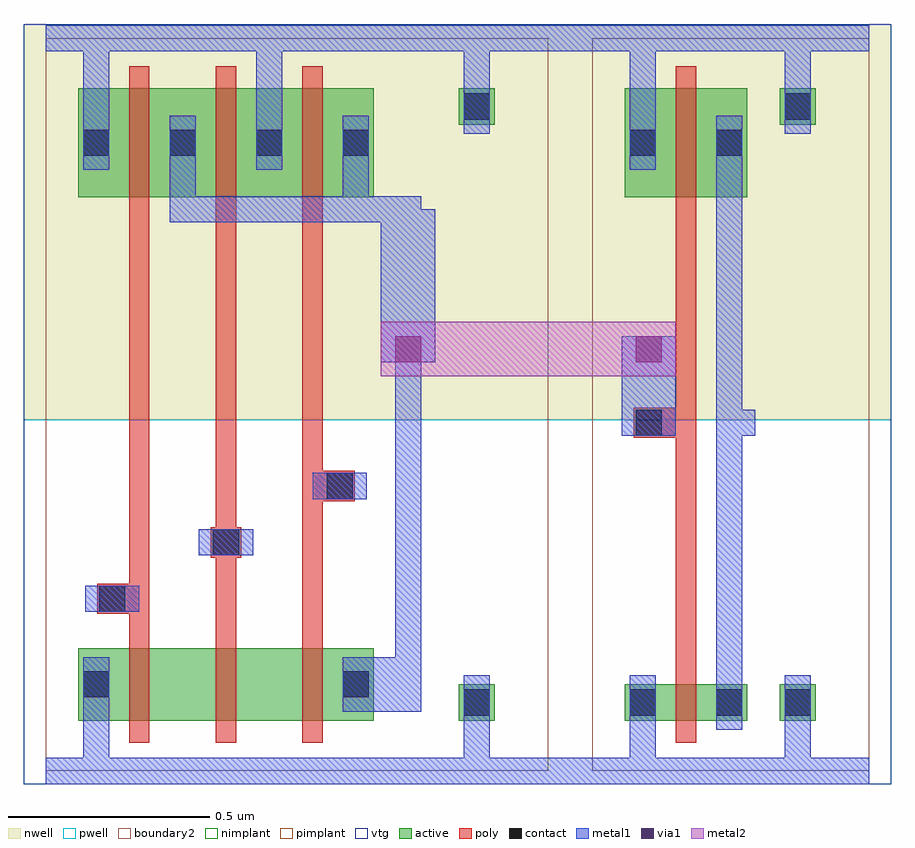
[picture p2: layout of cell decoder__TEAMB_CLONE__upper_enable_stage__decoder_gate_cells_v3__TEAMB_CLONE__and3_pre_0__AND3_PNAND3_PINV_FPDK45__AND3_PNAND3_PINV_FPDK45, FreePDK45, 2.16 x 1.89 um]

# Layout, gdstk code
import gdstk
lib = gdstk.Library(unit=1e-6, precision=5e-10)
def R(c, l, rs):  # rectangles x0, y0, x1, y1
    for r in rs: c.add(gdstk.rectangle(r[:2], r[2:], *l))
def A(c, l, x, y, w, h, nx, ny, dx, dy):  # array of equal rectangles
    R(c, l, [(x+i*dx, y+j*dy, x+i*dx+w, y+j*dy+h) for i in range(nx) for j in range(ny)])
active = (1, 0)
pwell = (2, 0)
nwell = (3, 0)
nimplant = (4, 0)
pimplant = (5, 0)
vtg = (6, 0)
poly = (9, 0)
contact = (10, 0)
metal1 = (11, 0)
via1 = (12, 0)
metal2 = (13, 0)
boundary2 = (239, 0)

decoder__teamb_clone__up = lib.new_cell('decoder__TEAMB_CLONE__upper_enable_stage__decoder_gate_cells_v3__TEAMB_CLONE__and3_pre_0__AND3_PNAND3_PINV_FPDK45__TEAMB_CLONE__nand3__PNAND3_NW180_PW270_L50_FPDK45__PNAND3_NW180_PW270_L50_FPDK45_contact_8')
R(decoder__teamb_clone__up, active, [(0,0.0225,0.09,0.1125)])
R(decoder__teamb_clone__up, nwell, [(-0.055,-0.0325,0.145,0.1675)])
R(decoder__teamb_clone__up, pimplant, [(0,0.0225,0.09,0.1125)])
R(decoder__teamb_clone__up, contact, [(0.0125,0.035,0.0775,0.1)])
R(decoder__teamb_clone__up, metal1, [(0.0125,0,0.0775,0.135)])
R(decoder__teamb_clone__up, boundary2, [(-0.055,-0.0325,0.145,0.1675)])

c_decoder__teamb_clone__up = lib.new_cell('decoder__TEAMB_CLONE__upper_enable_stage__decoder_gate_cells_v3__TEAMB_CLONE__and3_pre_0__AND3_PNAND3_PINV_FPDK45__TEAMB_CLONE__nand3__PNAND3_NW180_PW270_L50_FPDK45__PNAND3_NW180_PW270_L50_FPDK45_pmos_m1_w0_270_sm1_dm1')
R(c_decoder__teamb_clone__up, active, [(0,0,0.305,0.27)])
R(c_decoder__teamb_clone__up, nwell, [(-0.08,-0.08,0.385,0.35)])
R(c_decoder__teamb_clone__up, pimplant, [(0,0,0.305,0.27)])
R(c_decoder__teamb_clone__up, vtg, [(-0.08,-0.08,0.385,0.35)])
R(c_decoder__teamb_clone__up, poly, [(0.1275,-0.055,0.1775,0.325), (0.1275,-0.055,0.1775,0.325)])
R(c_decoder__teamb_clone__up, metal1, [(0.0125,0.0675,0.0775,0.2025), (0.2275,0.0675,0.2925,0.2025)])
R(c_decoder__teamb_clone__up, boundary2, [(-0.08,-0.08,0.385,0.35)])
c_decoder__teamb_clone__up.add(gdstk.Reference(decoder__teamb_clone__up, (0,0.0675)))
c_decoder__teamb_clone__up.add(gdstk.Reference(decoder__teamb_clone__up, (0.215,0.0675)))

c_decoder__teamb_clone__up_ = lib.new_cell('decoder__TEAMB_CLONE__upper_enable_stage__decoder_gate_cells_v3__TEAMB_CLONE__and3_pre_0__AND3_PNAND3_PINV_FPDK45__TEAMB_CLONE__nand3__PNAND3_NW180_PW270_L50_FPDK45__PNAND3_NW180_PW270_L50_FPDK45_contact_7')
R(c_decoder__teamb_clone__up_, active, [(0,0.0225,0.09,0.1125)])
R(c_decoder__teamb_clone__up_, pwell, [(-0.055,-0.0325,0.145,0.1675)])
R(c_decoder__teamb_clone__up_, nimplant, [(0,0.0225,0.09,0.1125)])
R(c_decoder__teamb_clone__up_, contact, [(0.0125,0.035,0.0775,0.1)])
R(c_decoder__teamb_clone__up_, metal1, [(0.0125,0,0.0775,0.135)])
R(c_decoder__teamb_clone__up_, boundary2, [(-0.055,-0.0325,0.145,0.1675)])

c_decoder__teamb_clone__up__ = lib.new_cell('decoder__TEAMB_CLONE__upper_enable_stage__decoder_gate_cells_v3__TEAMB_CLONE__and3_pre_0__AND3_PNAND3_PINV_FPDK45__TEAMB_CLONE__nand3__PNAND3_NW180_PW270_L50_FPDK45__PNAND3_NW180_PW270_L50_FPDK45_nmos_m1_w0_180_sm1_dactive')
R(c_decoder__teamb_clone__up__, active, [(0,0,0.305,0.18), (0.215,0.045,0.305,0.135)])
R(c_decoder__teamb_clone__up__, pwell, [(-0.08,-0.08,0.385,0.26)])
R(c_decoder__teamb_clone__up__, nimplant, [(0,0,0.305,0.18)])
R(c_decoder__teamb_clone__up__, vtg, [(-0.08,-0.08,0.385,0.26)])
R(c_decoder__teamb_clone__up__, poly, [(0.1275,-0.055,0.1775,0.235), (0.1275,-0.055,0.1775,0.235)])
R(c_decoder__teamb_clone__up__, metal1, [(0.0125,0.0225,0.0775,0.1575)])
R(c_decoder__teamb_clone__up__, boundary2, [(-0.08,-0.08,0.385,0.26)])
c_decoder__teamb_clone__up__.add(gdstk.Reference(c_decoder__teamb_clone__up_, (0,0.0225)))

c_decoder__teamb_clone__up___ = lib.new_cell('decoder__TEAMB_CLONE__upper_enable_stage__decoder_gate_cells_v3__TEAMB_CLONE__and3_pre_0__AND3_PNAND3_PINV_FPDK45__TEAMB_CLONE__nand3__PNAND3_NW180_PW270_L50_FPDK45__PNAND3_NW180_PW270_L50_FPDK45_nmos_m1_w0_180_sactive_dactive')
R(c_decoder__teamb_clone__up___, active, [(0,0,0.305,0.18), (0,0.045,0.09,0.135), (0.215,0.045,0.305,0.135)])
R(c_decoder__teamb_clone__up___, pwell, [(-0.08,-0.08,0.385,0.26)])
R(c_decoder__teamb_clone__up___, nimplant, [(0,0,0.305,0.18)])
R(c_decoder__teamb_clone__up___, vtg, [(-0.08,-0.08,0.385,0.26)])
R(c_decoder__teamb_clone__up___, poly, [(0.1275,-0.055,0.1775,0.235), (0.1275,-0.055,0.1775,0.235)])
R(c_decoder__teamb_clone__up___, boundary2, [(-0.08,-0.08,0.385,0.26)])

c_decoder__teamb_clone__up____ = lib.new_cell('decoder__TEAMB_CLONE__upper_enable_stage__decoder_gate_cells_v3__TEAMB_CLONE__and3_pre_0__AND3_PNAND3_PINV_FPDK45__TEAMB_CLONE__nand3__PNAND3_NW180_PW270_L50_FPDK45__PNAND3_NW180_PW270_L50_FPDK45_nmos_m1_w0_180_sactive_dm1')
R(c_decoder__teamb_clone__up____, active, [(0,0,0.305,0.18), (0,0.045,0.09,0.135)])
R(c_decoder__teamb_clone__up____, pwell, [(-0.08,-0.08,0.385,0.26)])
R(c_decoder__teamb_clone__up____, nimplant, [(0,0,0.305,0.18)])
R(c_decoder__teamb_clone__up____, vtg, [(-0.08,-0.08,0.385,0.26)])
R(c_decoder__teamb_clone__up____, poly, [(0.1275,-0.055,0.1775,0.235), (0.1275,-0.055,0.1775,0.235)])
R(c_decoder__teamb_clone__up____, metal1, [(0.2275,0.0225,0.2925,0.1575)])
R(c_decoder__teamb_clone__up____, boundary2, [(-0.08,-0.08,0.385,0.26)])
c_decoder__teamb_clone__up____.add(gdstk.Reference(c_decoder__teamb_clone__up_, (0.215,0.0225)))

c_decoder__teamb_clone__up_____ = lib.new_cell('decoder__TEAMB_CLONE__upper_enable_stage__decoder_gate_cells_v3__TEAMB_CLONE__and3_pre_0__AND3_PNAND3_PINV_FPDK45__TEAMB_CLONE__nand3__PNAND3_NW180_PW270_L50_FPDK45__PNAND3_NW180_PW270_L50_FPDK45_contact_9')
R(c_decoder__teamb_clone__up_____, active, [(0,0.0225,0.09,0.1125)])
R(c_decoder__teamb_clone__up_____, nwell, [(-0.055,-0.0325,0.145,0.1675)])
R(c_decoder__teamb_clone__up_____, nimplant, [(0,0.0225,0.09,0.1125)])
R(c_decoder__teamb_clone__up_____, contact, [(0.0125,0.035,0.0775,0.1)])
R(c_decoder__teamb_clone__up_____, metal1, [(0.0125,0,0.0775,0.135)])
R(c_decoder__teamb_clone__up_____, boundary2, [(-0.055,-0.0325,0.145,0.1675)])

c_decoder__teamb_clone__up______ = lib.new_cell('decoder__TEAMB_CLONE__upper_enable_stage__decoder_gate_cells_v3__TEAMB_CLONE__and3_pre_0__AND3_PNAND3_PINV_FPDK45__TEAMB_CLONE__nand3__PNAND3_NW180_PW270_L50_FPDK45__PNAND3_NW180_PW270_L50_FPDK45_contact_10')
R(c_decoder__teamb_clone__up______, active, [(0,0.0225,0.09,0.1125)])
R(c_decoder__teamb_clone__up______, pwell, [(-0.055,-0.0325,0.145,0.1675)])
R(c_decoder__teamb_clone__up______, pimplant, [(0,0.0225,0.09,0.1125)])
R(c_decoder__teamb_clone__up______, contact, [(0.0125,0.035,0.0775,0.1)])
R(c_decoder__teamb_clone__up______, metal1, [(0.0125,0,0.0775,0.135)])
R(c_decoder__teamb_clone__up______, boundary2, [(-0.055,-0.0325,0.145,0.1675)])

c_decoder__teamb_clone__up_______ = lib.new_cell('decoder__TEAMB_CLONE__upper_enable_stage__decoder_gate_cells_v3__TEAMB_CLONE__and3_pre_0__AND3_PNAND3_PINV_FPDK45__TEAMB_CLONE__nand3__PNAND3_NW180_PW270_L50_FPDK45__PNAND3_NW180_PW270_L50_FPDK45_contact_11')
R(c_decoder__teamb_clone__up_______, poly, [(0.03,0,0.105,0.075)])
R(c_decoder__teamb_clone__up_______, contact, [(0.035,0.005,0.1,0.07)])
R(c_decoder__teamb_clone__up_______, metal1, [(0,0.005,0.135,0.07)])
R(c_decoder__teamb_clone__up_______, boundary2, [(0,0,0.135,0.075)])

c_decoder__teamb_clone__up________ = lib.new_cell('decoder__TEAMB_CLONE__upper_enable_stage__decoder_gate_cells_v3__TEAMB_CLONE__and3_pre_0__AND3_PNAND3_PINV_FPDK45__TEAMB_CLONE__nand3__PNAND3_NW180_PW270_L50_FPDK45__PNAND3_NW180_PW270_L50_FPDK45_pnand3')
R(c_decoder__teamb_clone__up________, pwell, [(-0.055,-0.0325,1.3025,0.8725)])
R(c_decoder__teamb_clone__up________, nwell, [(-0.055,0.8725,1.3025,1.855)])
R(c_decoder__teamb_clone__up________, vtg, [(-0.055,-0.0325,1.3025,0.8725), (-0.055,0.8725,1.3025,1.855)])
A(c_decoder__teamb_clone__up________, poly, 0.2075, 0.36, 0.05, 1.01, 3, 1, 0.215, 0)
R(c_decoder__teamb_clone__up________, poly, [(0.165,0.39,0.2075,0.465), (0.4225,0.53,0.4475,0.605), (0.6375,0.67,0.73,0.745)])
R(c_decoder__teamb_clone__up________, metal1, [(0,-0.0325,1.2475,0.0325), (0.0925,-0.0325,0.1575,0.1475), (1.0375,0,1.1025,0.17), (0.77,0.1475,0.9,0.2825), (0.8675,0.1475,0.9325,1.395), (0.0975,0.395,0.2325,0.46), (0.38,0.535,0.515,0.6), (0.6625,0.675,0.7975,0.74), (0.3075,1.3625,0.3725,1.4275), (0.34,1.3625,0.9,1.4275), (0.7375,1.3625,0.8025,1.4275), (0.77,1.3625,0.9,1.4275), (0.8675,1.3625,0.9325,1.4275), (0.3075,1.395,0.3725,1.56), (0.7375,1.395,0.8025,1.56), (0.0925,1.4925,0.1575,1.8525), (0.5225,1.4925,0.5875,1.8525), (1.0375,1.65,1.1025,1.82), (0,1.7875,1.2475,1.8525)])
R(c_decoder__teamb_clone__up________, boundary2, [(0,0,1.2475,1.82), (0,0,1.2475,1.82)])
c_decoder__teamb_clone__up________.add(gdstk.Reference(c_decoder__teamb_clone__up, (0.08,1.425)))
c_decoder__teamb_clone__up________.add(gdstk.Reference(c_decoder__teamb_clone__up, (0.295,1.425)))
c_decoder__teamb_clone__up________.add(gdstk.Reference(c_decoder__teamb_clone__up, (0.51,1.425)))
c_decoder__teamb_clone__up________.add(gdstk.Reference(c_decoder__teamb_clone__up__, (0.08,0.125)))
c_decoder__teamb_clone__up________.add(gdstk.Reference(c_decoder__teamb_clone__up___, (0.295,0.125)))
c_decoder__teamb_clone__up________.add(gdstk.Reference(c_decoder__teamb_clone__up____, (0.51,0.125)))
c_decoder__teamb_clone__up________.add(gdstk.Reference(c_decoder__teamb_clone__up_____, (1.025,1.5825)))
c_decoder__teamb_clone__up________.add(gdstk.Reference(c_decoder__teamb_clone__up______, (1.025,0.1025)))
c_decoder__teamb_clone__up________.add(gdstk.Reference(c_decoder__teamb_clone__up_______, (0.0975,0.39)))
c_decoder__teamb_clone__up________.add(gdstk.Reference(c_decoder__teamb_clone__up_______, (0.38,0.53)))
c_decoder__teamb_clone__up________.add(gdstk.Reference(c_decoder__teamb_clone__up_______, (0.6625,0.67)))

c_decoder__teamb_clone__up_________ = lib.new_cell('decoder__TEAMB_CLONE__upper_enable_stage__decoder_gate_cells_v3__TEAMB_CLONE__and3_pre_0__AND3_PNAND3_PINV_FPDK45__TEAMB_CLONE__nand3__PNAND3_NW180_PW270_L50_FPDK45__PNAND3_NW180_PW270_L50_FPDK45')
R(c_decoder__teamb_clone__up_________, metal1, [(0,-0.0325,1.2475,0.0325), (0.0975,0.395,0.2325,0.46), (0.38,0.535,0.515,0.6), (0.6625,0.675,0.7975,0.74), (0.8675,1.3625,0.9325,1.4275), (0,1.7875,1.2475,1.8525)])
R(c_decoder__teamb_clone__up_________, boundary2, [(0,0,1.2475,1.82)])
c_decoder__teamb_clone__up_________.add(gdstk.Reference(c_decoder__teamb_clone__up________, (0,0)))

c_decoder__teamb_clone__up__________ = lib.new_cell('decoder__TEAMB_CLONE__upper_enable_stage__decoder_gate_cells_v3__TEAMB_CLONE__and3_pre_0__AND3_PNAND3_PINV_FPDK45__TEAMB_CLONE__inv__PINV_NW90_PW270_L50__TRANSMISSION_GATE_NW250_PW500_L50_contact_8')
R(c_decoder__teamb_clone__up__________, active, [(0,0.0225,0.09,0.1125)])
R(c_decoder__teamb_clone__up__________, nwell, [(-0.055,-0.0325,0.145,0.1675)])
R(c_decoder__teamb_clone__up__________, pimplant, [(0,0.0225,0.09,0.1125)])
R(c_decoder__teamb_clone__up__________, contact, [(0.0125,0.035,0.0775,0.1)])
R(c_decoder__teamb_clone__up__________, metal1, [(0.0125,0,0.0775,0.135)])
R(c_decoder__teamb_clone__up__________, boundary2, [(-0.055,-0.0325,0.145,0.1675)])

c_decoder__teamb_clone__up___________ = lib.new_cell('decoder__TEAMB_CLONE__upper_enable_stage__decoder_gate_cells_v3__TEAMB_CLONE__and3_pre_0__AND3_PNAND3_PINV_FPDK45__TEAMB_CLONE__inv__PINV_NW90_PW270_L50__PINV_NW180_PW270_L50_pmos_m1_w0_270_sm1_dm1_da_p')
R(c_decoder__teamb_clone__up___________, active, [(0,0,0.305,0.27)])
R(c_decoder__teamb_clone__up___________, nwell, [(-0.08,-0.08,0.385,0.35)])
R(c_decoder__teamb_clone__up___________, pimplant, [(0,0,0.305,0.27)])
R(c_decoder__teamb_clone__up___________, vtg, [(-0.08,-0.08,0.385,0.35)])
R(c_decoder__teamb_clone__up___________, poly, [(0.1275,-0.055,0.1775,0.325), (0.1275,-0.055,0.1775,0.325)])
R(c_decoder__teamb_clone__up___________, metal1, [(0.0125,0.0675,0.0775,0.2025), (0.2275,0.0675,0.2925,0.2025)])
R(c_decoder__teamb_clone__up___________, boundary2, [(-0.08,-0.08,0.385,0.35)])
c_decoder__teamb_clone__up___________.add(gdstk.Reference(c_decoder__teamb_clone__up__________, (0,0.0675)))
c_decoder__teamb_clone__up___________.add(gdstk.Reference(c_decoder__teamb_clone__up__________, (0.215,0.0675)))

c_decoder__teamb_clone__up____________ = lib.new_cell('decoder__TEAMB_CLONE__upper_enable_stage__decoder_gate_cells_v3__TEAMB_CLONE__and3_pre_0__AND3_PNAND3_PINV_FPDK45__TEAMB_CLONE__inv__PINV_NW90_PW270_L50__TRANSMISSION_GATE_NW250_PW500_L50_contact_7')
R(c_decoder__teamb_clone__up____________, active, [(0,0.0225,0.09,0.1125)])
R(c_decoder__teamb_clone__up____________, pwell, [(-0.055,-0.0325,0.145,0.1675)])
R(c_decoder__teamb_clone__up____________, nimplant, [(0,0.0225,0.09,0.1125)])
R(c_decoder__teamb_clone__up____________, contact, [(0.0125,0.035,0.0775,0.1)])
R(c_decoder__teamb_clone__up____________, metal1, [(0.0125,0,0.0775,0.135)])
R(c_decoder__teamb_clone__up____________, boundary2, [(-0.055,-0.0325,0.145,0.1675)])

c_decoder__teamb_clone__up_____________ = lib.new_cell('decoder__TEAMB_CLONE__upper_enable_stage__decoder_gate_cells_v3__TEAMB_CLONE__and3_pre_0__AND3_PNAND3_PINV_FPDK45__TEAMB_CLONE__inv__PINV_NW90_PW270_L50__PINV_NW90_PW270_L50_nmos_m1_w0_090_sm1_dm1_da_p')
R(c_decoder__teamb_clone__up_____________, active, [(0,0,0.305,0.09)])
R(c_decoder__teamb_clone__up_____________, pwell, [(-0.08,-0.08,0.385,0.17)])
R(c_decoder__teamb_clone__up_____________, nimplant, [(0,0,0.305,0.09)])
R(c_decoder__teamb_clone__up_____________, vtg, [(-0.08,-0.08,0.385,0.17)])
R(c_decoder__teamb_clone__up_____________, poly, [(0.1275,-0.055,0.1775,0.145), (0.1275,-0.055,0.1775,0.145)])
R(c_decoder__teamb_clone__up_____________, metal1, [(0.0125,-0.0225,0.0775,0.1125), (0.2275,-0.0225,0.2925,0.1125)])
R(c_decoder__teamb_clone__up_____________, boundary2, [(-0.08,-0.08,0.385,0.17)])
c_decoder__teamb_clone__up_____________.add(gdstk.Reference(c_decoder__teamb_clone__up____________, (0,-0.0225)))
c_decoder__teamb_clone__up_____________.add(gdstk.Reference(c_decoder__teamb_clone__up____________, (0.215,-0.0225)))

c_decoder__teamb_clone__up______________ = lib.new_cell('decoder__TEAMB_CLONE__upper_enable_stage__decoder_gate_cells_v3__TEAMB_CLONE__and3_pre_0__AND3_PNAND3_PINV_FPDK45__TEAMB_CLONE__inv__PINV_NW90_PW270_L50__TRANSMISSION_GATE_NW250_PW500_L50_contact_9')
R(c_decoder__teamb_clone__up______________, active, [(0,0.0225,0.09,0.1125)])
R(c_decoder__teamb_clone__up______________, nwell, [(-0.055,-0.0325,0.145,0.1675)])
R(c_decoder__teamb_clone__up______________, nimplant, [(0,0.0225,0.09,0.1125)])
R(c_decoder__teamb_clone__up______________, contact, [(0.0125,0.035,0.0775,0.1)])
R(c_decoder__teamb_clone__up______________, metal1, [(0.0125,0,0.0775,0.135)])
R(c_decoder__teamb_clone__up______________, boundary2, [(-0.055,-0.0325,0.145,0.1675)])

c_decoder__teamb_clone__up_______________ = lib.new_cell('decoder__TEAMB_CLONE__upper_enable_stage__decoder_gate_cells_v3__TEAMB_CLONE__and3_pre_0__AND3_PNAND3_PINV_FPDK45__TEAMB_CLONE__inv__PINV_NW90_PW270_L50__TRANSMISSION_GATE_NW250_PW500_L50_contact_10')
R(c_decoder__teamb_clone__up_______________, active, [(0,0.0225,0.09,0.1125)])
R(c_decoder__teamb_clone__up_______________, pwell, [(-0.055,-0.0325,0.145,0.1675)])
R(c_decoder__teamb_clone__up_______________, pimplant, [(0,0.0225,0.09,0.1125)])
R(c_decoder__teamb_clone__up_______________, contact, [(0.0125,0.035,0.0775,0.1)])
R(c_decoder__teamb_clone__up_______________, metal1, [(0.0125,0,0.0775,0.135)])
R(c_decoder__teamb_clone__up_______________, boundary2, [(-0.055,-0.0325,0.145,0.1675)])

c_decoder__teamb_clone__up________________ = lib.new_cell('decoder__TEAMB_CLONE__upper_enable_stage__decoder_gate_cells_v3__TEAMB_CLONE__and3_pre_0__AND3_PNAND3_PINV_FPDK45__TEAMB_CLONE__inv__PINV_NW90_PW270_L50__PINV_NW180_PW270_L50_contact_11')
R(c_decoder__teamb_clone__up________________, poly, [(0.03,0,0.105,0.075)])
R(c_decoder__teamb_clone__up________________, contact, [(0.035,0.005,0.1,0.07)])
R(c_decoder__teamb_clone__up________________, metal1, [(0,0.005,0.135,0.07)])
R(c_decoder__teamb_clone__up________________, boundary2, [(0,0,0.135,0.075)])

c_decoder__teamb_clone__up_________________ = lib.new_cell('decoder__TEAMB_CLONE__upper_enable_stage__decoder_gate_cells_v3__TEAMB_CLONE__and3_pre_0__AND3_PNAND3_PINV_FPDK45__TEAMB_CLONE__inv__PINV_NW90_PW270_L50__PINV_NW90_PW270_L50_core')
R(c_decoder__teamb_clone__up_________________, pwell, [(-0.055,-0.0325,0.7425,0.8725)])
R(c_decoder__teamb_clone__up_________________, nwell, [(-0.055,0.8725,0.7425,1.855)])
R(c_decoder__teamb_clone__up_________________, vtg, [(-0.055,-0.0325,0.7425,0.8725), (-0.055,0.8725,0.7425,1.855)])
R(c_decoder__teamb_clone__up_________________, poly, [(0.2075,0.27,0.2575,1.37), (0.14,0.8275,0.2075,0.9025)])
R(c_decoder__teamb_clone__up_________________, metal1, [(0,-0.0325,0.6875,0.0325), (0.0925,-0.0325,0.1575,0.1025), (0.4775,0,0.5425,0.17), (0.3075,0.1025,0.3725,1.6275), (0.0725,0.8325,0.2075,0.8975), (0.34,0.8325,0.405,0.8975), (0.0925,1.4925,0.1575,1.8525), (0.4775,1.65,0.5425,1.82), (0,1.7875,0.6875,1.8525)])
R(c_decoder__teamb_clone__up_________________, boundary2, [(0,0,0.6875,1.82), (0,0,0.6875,1.82)])
c_decoder__teamb_clone__up_________________.add(gdstk.Reference(c_decoder__teamb_clone__up___________, (0.08,1.425)))
c_decoder__teamb_clone__up_________________.add(gdstk.Reference(c_decoder__teamb_clone__up_____________, (0.08,0.125)))
c_decoder__teamb_clone__up_________________.add(gdstk.Reference(c_decoder__teamb_clone__up______________, (0.465,1.5825)))
c_decoder__teamb_clone__up_________________.add(gdstk.Reference(c_decoder__teamb_clone__up_______________, (0.465,0.1025)))
c_decoder__teamb_clone__up_________________.add(gdstk.Reference(c_decoder__teamb_clone__up________________, (0.0725,0.8275)))

c_decoder__teamb_clone__up__________________ = lib.new_cell('decoder__TEAMB_CLONE__upper_enable_stage__decoder_gate_cells_v3__TEAMB_CLONE__and3_pre_0__AND3_PNAND3_PINV_FPDK45__TEAMB_CLONE__inv__PINV_NW90_PW270_L50__PINV_NW90_PW270_L50')
R(c_decoder__teamb_clone__up__________________, metal1, [(0,-0.0325,0.6875,0.0325), (0.0725,0.8325,0.2075,0.8975), (0.34,0.8325,0.405,0.8975), (0,1.7875,0.6875,1.8525)])
R(c_decoder__teamb_clone__up__________________, boundary2, [(0,0,0.6875,1.82)])
c_decoder__teamb_clone__up__________________.add(gdstk.Reference(c_decoder__teamb_clone__up_________________, (0,0)))

c_decoder__teamb_clone__up___________________ = lib.new_cell('decoder__TEAMB_CLONE__upper_enable_stage__decoder_gate_cells_v3__TEAMB_CLONE__and3_pre_0__AND3_PNAND3_PINV_FPDK45__AND3_PNAND3_PINV_FPDK45')
R(c_decoder__teamb_clone__up___________________, metal1, [(0.055,0,2.1,0.065), (1.485,0.8975,1.62,1.1125), (0.8875,1.0475,1.0225,1.4275), (0.055,1.82,2.1,1.885)])
R(c_decoder__teamb_clone__up___________________, via1, [(0.9225,1.0475,0.9875,1.1125), (1.52,1.0475,1.585,1.1125)])
R(c_decoder__teamb_clone__up___________________, metal2, [(0.8875,1.0125,1.0225,1.1475), (0.955,1.0125,1.5525,1.1475), (1.485,1.0125,1.62,1.1475)])
c_decoder__teamb_clone__up___________________.add(gdstk.Reference(c_decoder__teamb_clone__up_________, (0.055,0.0325)))
c_decoder__teamb_clone__up___________________.add(gdstk.Reference(c_decoder__teamb_clone__up__________________, (1.4125,0.0325)))

lib.write_gds('decoder__TEAMB_CLONE__upper_enable_stage__decoder_gate_cells_v3__TEAMB_CLONE__and3_pre_0__AND3_PNAND3_PINV_FPDK45__AND3_PNAND3_PINV_FPDK45.gds')
